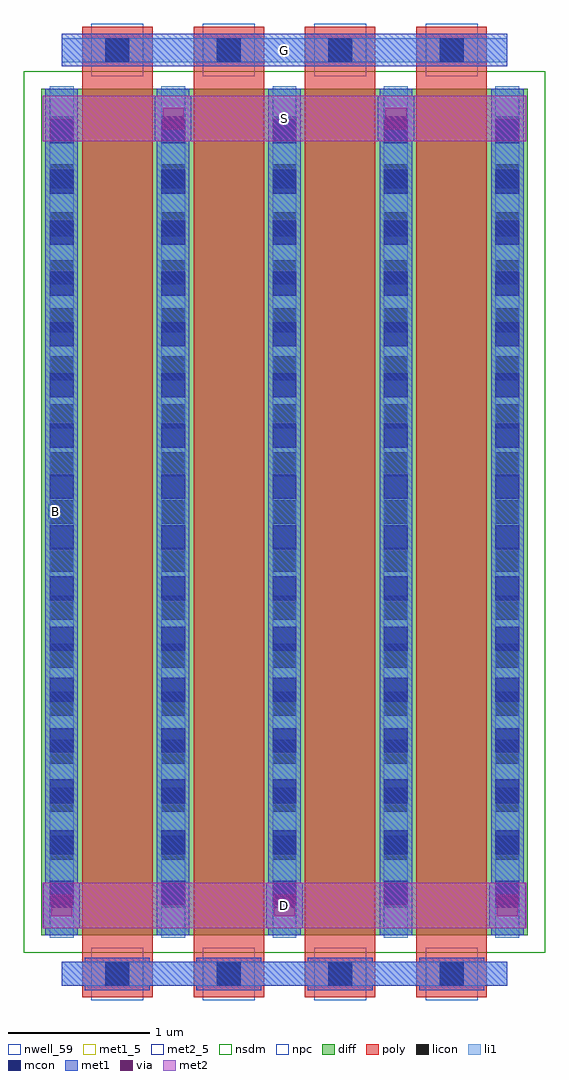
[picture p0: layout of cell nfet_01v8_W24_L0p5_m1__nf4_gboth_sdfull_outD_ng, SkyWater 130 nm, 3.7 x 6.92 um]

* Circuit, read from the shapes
.subckt nfet_01v8_W24_L0p5_m1__nf4_gboth_sdfull_outD_ng B D G S
XM1 S G D B sky130_fd_pr__nfet_01v8 w=6 l=0.5 m=4
.ends

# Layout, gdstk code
import gdstk
lib = gdstk.Library(unit=1e-6, precision=1e-09)
def R(c, l, rs):  # rectangles x0, y0, x1, y1
    for r in rs: c.add(gdstk.rectangle(r[:2], r[2:], *l))
def A(c, l, x, y, w, h, nx, ny, dx, dy):  # array of equal rectangles
    R(c, l, [(x+i*dx, y+j*dy, x+i*dx+w, y+j*dy+h) for i in range(nx) for j in range(ny)])
nwell_59 = (64, 59)
diff = (65, 20)
poly = (66, 20)
licon = (66, 44)
li1 = (67, 20)
mcon = (67, 44)
met1_5 = (68, 5)
met1 = (68, 20)
via = (68, 44)
met2_5 = (69, 5)
met2 = (69, 20)
nsdm = (93, 44)
npc = (95, 20)

sky130_fd_pr__nfet_01v8_ = lib.new_cell('sky130_fd_pr__nfet_01v8_P5B6PV')
R(sky130_fd_pr__nfet_01v8_, diff, [(-1.725,-3,1.725,3)])
A(sky130_fd_pr__nfet_01v8_, poly, -1.435, -3.44, 0.5, 6.88, 4, 1, 0.79, 0)
A(sky130_fd_pr__nfet_01v8_, licon, -1.27, -3.36, 0.17, 0.17, 4, 2, 0.79, 6.55)
A(sky130_fd_pr__nfet_01v8_, licon, -1.665, -2.805, 0.17, 0.17, 5, 17, 0.79, 0.34)
A(sky130_fd_pr__nfet_01v8_, li1, -1.665, -3.02, 0.17, 6.04, 5, 1, 0.79, 0)
R(sky130_fd_pr__nfet_01v8_, li1, [(-1.58,-3.36,1.58,-3.19), (-1.58,3.19,1.58,3.36)])
A(sky130_fd_pr__nfet_01v8_, mcon, -1.27, -3.36, 0.17, 0.17, 4, 2, 0.79, 6.55)
A(sky130_fd_pr__nfet_01v8_, mcon, -1.665, -2.785, 0.17, 0.17, 5, 16, 0.79, 0.36)
A(sky130_fd_pr__nfet_01v8_, met1, -1.415, -3.39, 0.46, 0.03, 4, 2, 0.79, 0.2)
A(sky130_fd_pr__nfet_01v8_, met1, -1.695, -3, 0.23, 6, 5, 1, 0.79, 0)
A(sky130_fd_pr__nfet_01v8_, met1, -1.415, 3.16, 0.46, 0.03, 4, 2, 0.79, 0.2)
R(sky130_fd_pr__nfet_01v8_, met1, [(-1.58,-3.36,1.58,-3.19), (-1.58,3.19,1.58,3.36)])
R(sky130_fd_pr__nfet_01v8_, nsdm, [(-1.85,-3.125,1.85,3.125)])
A(sky130_fd_pr__nfet_01v8_, npc, -1.37, -3.46, 0.37, 0.37, 4, 2, 0.79, 6.55)
sky130_fd_pr__nfet_01v8_.add(gdstk.Label('D0', (-1.58,0), layer=67, texttype=5))
sky130_fd_pr__nfet_01v8_.add(gdstk.Label('G', (1.185,3.275), layer=67, texttype=5))
sky130_fd_pr__nfet_01v8_.add(gdstk.Label('G', (0.395,3.275), layer=67, texttype=5))
sky130_fd_pr__nfet_01v8_.add(gdstk.Label('G', (-0.395,3.275), layer=67, texttype=5))
sky130_fd_pr__nfet_01v8_.add(gdstk.Label('G', (-1.185,3.275), layer=67, texttype=5))
sky130_fd_pr__nfet_01v8_.add(gdstk.Label('S1', (-0.79,0), layer=67, texttype=5))
sky130_fd_pr__nfet_01v8_.add(gdstk.Label('D2', (0,0), layer=67, texttype=5))
sky130_fd_pr__nfet_01v8_.add(gdstk.Label('S3', (0.79,0), layer=67, texttype=5))

nfet_01v8_w24_l0p5_m1__n = lib.new_cell('nfet_01v8_W24_L0p5_m1__nf4_gboth_sdfull_outD_ng')
R(nfet_01v8_w24_l0p5_m1__n, nwell_59, [(0.05,3.39,0.15,3.49)])
R(nfet_01v8_w24_l0p5_m1__n, met1_5, [(0.145,6.6,3.305,6.83)])
A(nfet_01v8_w24_l0p5_m1__n, met1, 0.015, 0.49, 0.26, 0.32, 3, 1, 1.58, 0)
R(nfet_01v8_w24_l0p5_m1__n, met1, [(0.805,6.07,1.065,6.39), (2.385,6.07,2.645,6.39), (0.145,6.6,3.305,6.83)])
A(nfet_01v8_w24_l0p5_m1__n, via, 0.07, 0.575, 0.15, 0.15, 3, 1, 1.58, 0)
R(nfet_01v8_w24_l0p5_m1__n, via, [(0.86,6.155,1.01,6.305), (2.44,6.155,2.59,6.305)])
R(nfet_01v8_w24_l0p5_m1__n, met2_5, [(0.01,0.49,3.44,0.81), (0.01,6.07,3.44,6.39)])
R(nfet_01v8_w24_l0p5_m1__n, met2, [(0.01,0.49,3.44,0.81), (0.01,6.07,3.44,6.39)])
nfet_01v8_w24_l0p5_m1__n.add(gdstk.Reference(sky130_fd_pr__nfet_01v8_, (1.725,3.44)))
nfet_01v8_w24_l0p5_m1__n.add(gdstk.Label('S', (1.725,6.23), layer=69, texttype=5))
nfet_01v8_w24_l0p5_m1__n.add(gdstk.Label('D', (1.725,0.65), layer=69, texttype=5))
nfet_01v8_w24_l0p5_m1__n.add(gdstk.Label('G', (1.725,6.715), layer=68, texttype=5))
nfet_01v8_w24_l0p5_m1__n.add(gdstk.Label('B', (0.1,3.44), layer=64, texttype=59))

lib.write_gds('nfet_01v8_W24_L0p5_m1__nf4_gboth_sdfull_outD_ng.gds')
